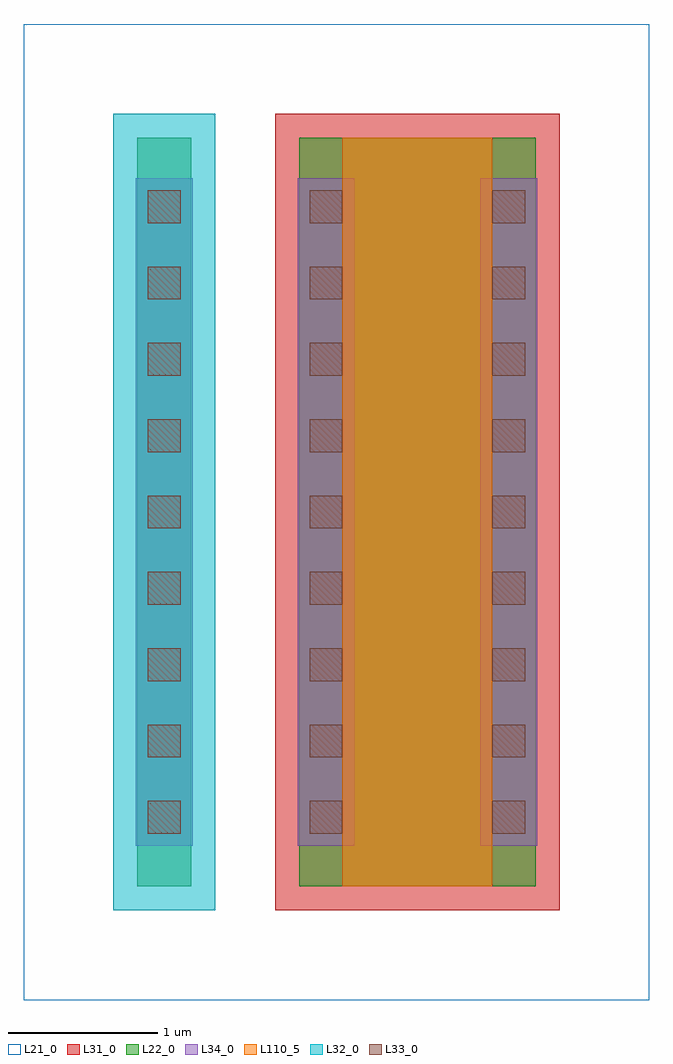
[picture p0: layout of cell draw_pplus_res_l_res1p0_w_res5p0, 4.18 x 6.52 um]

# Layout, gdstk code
import gdstk
lib = gdstk.Library(unit=1e-6, precision=1e-09)
def R(c, l, rs):  # rectangles x0, y0, x1, y1
    for r in rs: c.add(gdstk.rectangle(r[:2], r[2:], *l))
def A(c, l, x, y, w, h, nx, ny, dx, dy):  # array of equal rectangles
    R(c, l, [(x+i*dx, y+j*dy, x+i*dx+w, y+j*dy+h) for i in range(nx) for j in range(ny)])
L21_0 = (21, 0)
L22_0 = (22, 0)
L31_0 = (31, 0)
L32_0 = (32, 0)
L33_0 = (33, 0)
L34_0 = (34, 0)
L110_5 = (110, 5)

draw_pplus_res_l_res1p0_ = lib.new_cell('draw_pplus_res_l_res1p0_w_res5p0')
R(draw_pplus_res_l_res1p0_, L21_0, [(-2.13,-0.76,2.05,5.76)])
R(draw_pplus_res_l_res1p0_, L22_0, [(-1.37,0,-1.01,5), (-0.29,0,1.29,5)])
R(draw_pplus_res_l_res1p0_, L31_0, [(-0.45,-0.16,1.45,5.16)])
R(draw_pplus_res_l_res1p0_, L32_0, [(-1.53,-0.16,-0.85,5.16)])
A(draw_pplus_res_l_res1p0_, L33_0, -1.3, 0.35, 0.22, 0.22, 1, 9, 0, 0.51)
A(draw_pplus_res_l_res1p0_, L33_0, -0.22, 0.35, 0.22, 0.22, 1, 9, 0, 0.51)
A(draw_pplus_res_l_res1p0_, L33_0, 1, 0.35, 0.22, 0.22, 1, 9, 0, 0.51)
R(draw_pplus_res_l_res1p0_, L34_0, [(-1.38,0.27,-1,4.73), (-0.3,0.27,0.08,4.73), (0.92,0.27,1.3,4.73)])
R(draw_pplus_res_l_res1p0_, L110_5, [(0,0,1,5)])

lib.write_gds('draw_pplus_res_l_res1p0_w_res5p0.gds')
